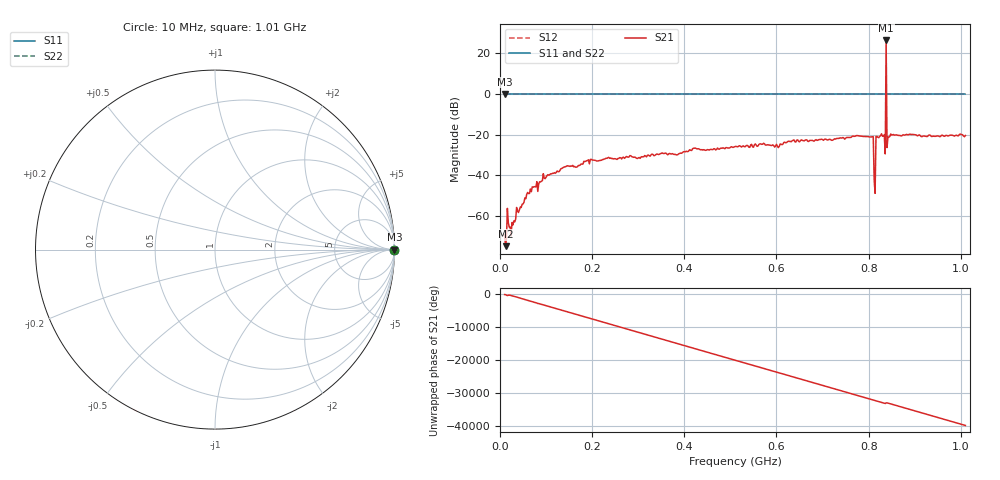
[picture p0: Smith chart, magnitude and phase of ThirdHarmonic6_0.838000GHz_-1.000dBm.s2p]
! 8/16/2025 3:47:50 AM
! C:\ANRITSUVNA\TEMP\TEMP.S2P
! CHANNEL.1
! TR.MEASUREMENT
! RAW.DATA
! RF.CORRECTION.OFF
! AVERAGING.OFF
! IF.BANDWIDTH: 5KHZ
! SWEEPTYPE:  FREQ.SWEEP(Linear)
! Reference Plane Port Info
! PORT:  PORT1  PORT2
! DISTANCE:  0  m  0  m
! TIME:  0  s  0  s
! PHASE.OFFSET:  0  deg.  0  deg.
! LOSS:  0  dB  0  dB
! REF.LOSS:  0  dB  0  dB
! REF.FREQ:  0  Hz  0  Hz
! Power Info
! POWER:  -20  dBm  -20  dBm
! EFF.POWER:  -20  dBm  -20  dBm
! SOURCE.ATTEN:  0  dB  0  dB
! TEST.ATTEN:  0  dB  0  dB
# GHZ S RI R 50.0
! FREQ.GHZ  S11RE  S11IM  S21RE  S21IM  S12RE  S12IM  S22RE  S22IM
!; PortSelection: Port_12
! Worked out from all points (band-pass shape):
!   501 points, 10 MHz to 1.01 GHz, reference 50 ohm
!   highest |S21| = 26.25 dB at 838 MHz (marker M1); lowest = -74.8 dB at 12 MHz (marker M2)
!   |S21| within 3 dB of the highest: 837.8923 MHz to 838.114 MHz (221.7 kHz wide, 0.0265 % of centre)
!   lowest |S11| = 0.0 dB at 10 MHz (marker M3)
!   |S11| at or under -10 dB: nowhere
!   |S22| runs from 0.0 to 0.0 dB; largest |S21 - S12| = 21
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0.01  1 0  -0.000107 -0.000337  1 0  1 0
0.012  1 0  -0.000156 -9.36e-05  1 0  1 0
0.018  1 0  0.000555 0.000411  1 0  1 0
0.028  1 0  -0.000591 0.000123  1 0  1 0
0.04  1 0  0.000859 0.000865  1 0  1 0
0.062  1 0  -0.00297 -0.00195  1 0  1 0
0.09  1 0  -0.00651 0.00302  1 0  1 0
0.142  1 0  -0.0153 -0.00546  1 0  1 0
0.178  1 0  -0.0186 -0.00245  1 0  1 0
0.344  1 0  0.0294 -0.0136  1 0  1 0
0.51  1 0  -0.0379 0.0337  1 0  1 0
0.678  1 0  -0.0635 -0.0346  1 0  1 0
0.806  1 0  0.0132 0.0866  1 0  1 0
0.81  1 0  0.0143 -0.088  1 0  1 0
0.816  1 0  0.0697 0.0578  1 0  1 0
0.82  1 0  -0.049 -0.0709  1 0  1 0
0.832  1 0  -0.0392 0.0827  1 0  1 0
0.834  1 0  0.0779 0.0605  1 0  1 0
0.838  1 0  -10.26 17.79  1 0  1 0
0.842  1 0  0.0396 0.0784  1 0  1 0
0.844  1 0  0.0849 -0.0165  1 0  1 0
1.01  1 0  -0.0597 0.0738  1 0  1 0
